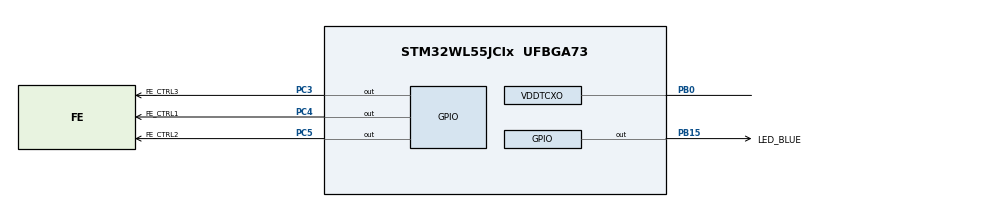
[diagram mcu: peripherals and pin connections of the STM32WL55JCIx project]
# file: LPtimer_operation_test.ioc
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Mcu.Family=STM32WL
Mcu.Name=STM32WL55JCIx
Mcu.Package=UFBGA73
Mcu.UserConstants=RTC_PREDIV_A,((1<<(15-RTC_N_PREDIV_S))-1);RTC_N_PREDIV_S,10;RTC_PREDIV_S,((1<<RTC_N_PREDIV_S)-1)
NUCLEO-WL55JC1.BUTTON=1
NUCLEO-WL55JC1.LD1=true
NVIC.PriorityGroup=NVIC_PRIORITYGROUP_4
NVIC.RTC_Alarm_IRQn=true\:0\:0\:false\:false\:true\:true\:true\:true
NVIC.TAMP_STAMP_LSECSS_SSRU_IRQn=true\:0\:0\:false\:false\:true\:true\:true\:true
OSC_IN.Mode=HSE-TCXO
OSC_IN.Signal=RCC_OSC_IN
PA2.GPIO_Label=T_VCP_RX
PA2.Signal=USART2_TX
PA3.GPIO_Label=T_VCP_RX
PA3.Signal=USART2_RX
PB0-VDD_TCXO.Mode=HSE-TCXO
PB0-VDD_TCXO.Signal=VDDTCXO
PB15.GPIO_Label=LED_BLUE
PB15.Signal=GPIO_Output
PC14-OSC32_IN.GPIO_Label=RCC_OSC32_IN
PC14-OSC32_IN.Mode=LSE-External-Oscillator
PC14-OSC32_IN.Signal=RCC_OSC32_IN
PC15-OSC32_OUT.GPIO_Label=RCC_OSC32_OUT
PC15-OSC32_OUT.Mode=LSE-External-Oscillator
PC15-OSC32_OUT.Signal=RCC_OSC32_OUT
PC3.GPIO_Label=FE_CTRL3
PC3.GPIO_Speed=GPIO_SPEED_FREQ_VERY_HIGH
PC3.Signal=GPIO_Output
PC4.GPIO_Label=FE_CTRL1
PC4.GPIO_Speed=GPIO_SPEED_FREQ_VERY_HIGH
PC4.Signal=GPIO_Output
PC5.GPIO_Label=FE_CTRL2
PC5.GPIO_Speed=GPIO_SPEED_FREQ_VERY_HIGH
PC5.Signal=GPIO_Output
ProjectManager.HeapSize=0x200
ProjectManager.StackSize=0x400
ProjectManager.TargetToolchain=STM32CubeIDE
RCC.FLatency=FLASH_LATENCY_2
RCC.HSE_VALUE=32000000
RCC.HSI_VALUE=16000000
RCC.LSE_VALUE=32768
RCC.PWR_Regulator_Voltage_Scale=PWR_REGULATOR_VOLTAGE_SCALE1
RCC.VCOOutputFreq_Value=32000000
RTC.Alarm-Alarm\ A=RTC_ALARM_A
RTC.AsynchPrediv=RTC_PREDIV_A
RTC.BinMode=RTC_BINARY_ONLY
RTC.BinaryAutoClr_A-Alarm\ A=RTC_ALARMSUBSECONDBIN_AUTOCLR_NO
VP_NUCLEO-WL55JC1_VS_BSP_COMMON.Mode=COMMON
VP_RTC_VS_RTC_Activate.Mode=RTC_Enabled
VP_RTC_VS_RTC_Alarm_A_Intern.Mode=Alarm A
VP_RTC_VS_RTC_Calendar.Mode=RTC_Calendar
board=NUCLEO-WL55JC1

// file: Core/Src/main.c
/* USER CODE BEGIN Header */
/**
  ******************************************************************************
  * @file           : main.c
  * @brief          : Main program body
  ******************************************************************************
  * @attention
  *
  * Copyright (c) 2025 STMicroelectronics.
  * All rights reserved.
  *
  * This software is licensed under terms that can be found in the LICENSE file
  * in the root directory of this software component.
  * If no LICENSE file comes with this software, it is provided AS-IS.
  *
  ******************************************************************************
  */
/* USER CODE END Header */
#include "main.h"
#include "rtc.h"
#include "gpio.h"

/* USER CODE BEGIN Includes */
#include "timer_if.h"
#include "logger.h"
/* USER CODE END Includes */

/* USER CODE BEGIN PD */
#define LED_PERIOD_TIME 1000
/* USER CODE END PD */

/* USER CODE BEGIN PV */
static UTIL_TIMER_Object_t ledTimer;
/* USER CODE END PV */

void SystemClock_Config(void);
/* USER CODE BEGIN PFP */
/**
  * @brief  LED timer callback function
  * @param  context ptr of LED context
  */
static void OnTimerLedEvent(void *context);
/* USER CODE END PFP */

/* USER CODE BEGIN 0 */
extern void initialise_monitor_handles(void);
/* USER CODE END 0 */

int main(void)
{

  /* USER CODE BEGIN 1 */
	initialise_monitor_handles();
  /* USER CODE END 1 */

  /* MCU Configuration--------------------------------------------------------*/

  /* Reset of all peripherals, Initializes the Flash interface and the Systick. */
  HAL_Init();

  /* Configure the system clock */
  SystemClock_Config();

  /* USER CODE BEGIN SysInit */
  UTIL_TIMER_Init();
  /* USER CODE END SysInit */

  /* Initialize all configured peripherals */
  MX_GPIO_Init();
  MX_RTC_Init();
  /* USER CODE BEGIN 2 */
  UTIL_TIMER_Create(&ledTimer, LED_PERIOD_TIME, UTIL_TIMER_ONESHOT, OnTimerLedEvent, NULL);
  /* USER CODE END 2 */

  /* Initialize leds */
  BSP_LED_Init(LED_BLUE);

  /* Initialize USER push-button, will be used to trigger an interrupt each time it's pressed.*/
  BSP_PB_Init(BUTTON_SW1, BUTTON_MODE_EXTI);

  /* Infinite loop */
  /* USER CODE BEGIN WHILE */
  UTIL_TIMER_Start(&ledTimer);
  while (1)
  {

    /* USER CODE END WHILE */
    /* USER CODE BEGIN 3 */
	  // __WFI()  (Wait For Interrupt) El procesador se detiene temporalmente hasta que ocurra una interrupción,
	  //UTIL_LPM_EnterLowPower();
  }
  /* USER CODE END 3 */
}

void SystemClock_Config(void)
{
  RCC_OscInitTypeDef RCC_OscInitStruct = {0};
  RCC_ClkInitTypeDef RCC_ClkInitStruct = {0};

  /** Configure LSE Drive Capability
  */
  HAL_PWR_EnableBkUpAccess();
  __HAL_RCC_LSEDRIVE_CONFIG(RCC_LSEDRIVE_LOW);

  /** Configure the main internal regulator output voltage
  */
  __HAL_PWR_VOLTAGESCALING_CONFIG(PWR_REGULATOR_VOLTAGE_SCALE1);

  /** Initializes the CPU, AHB and APB buses clocks
  */
  RCC_OscInitStruct.OscillatorType = RCC_OSCILLATORTYPE_LSI|RCC_OSCILLATORTYPE_LSE
                              |RCC_OSCILLATORTYPE_MSI;
  RCC_OscInitStruct.LSEState = RCC_LSE_ON;
  RCC_OscInitStruct.MSIState = RCC_MSI_ON;
  RCC_OscInitStruct.MSICalibrationValue = RCC_MSICALIBRATION_DEFAULT;
  RCC_OscInitStruct.MSIClockRange = RCC_MSIRANGE_6;
  RCC_OscInitStruct.LSIDiv = RCC_LSI_DIV1;
  RCC_OscInitStruct.LSIState = RCC_LSI_ON;
  RCC_OscInitStruct.PLL.PLLState = RCC_PLL_NONE;
  if (HAL_RCC_OscConfig(&RCC_OscInitStruct) != HAL_OK)
  {
    Error_Handler();
  }

  /** Configure the SYSCLKSource, HCLK, PCLK1 and PCLK2 clocks dividers
  */
  RCC_ClkInitStruct.ClockType = RCC_CLOCKTYPE_HCLK3|RCC_CLOCKTYPE_HCLK
                              |RCC_CLOCKTYPE_SYSCLK|RCC_CLOCKTYPE_PCLK1
                              |RCC_CLOCKTYPE_PCLK2;
  RCC_ClkInitStruct.SYSCLKSource = RCC_SYSCLKSOURCE_MSI;
  RCC_ClkInitStruct.AHBCLKDivider = RCC_SYSCLK_DIV1;
  RCC_ClkInitStruct.APB1CLKDivider = RCC_HCLK_DIV1;
  RCC_ClkInitStruct.APB2CLKDivider = RCC_HCLK_DIV1;
  RCC_ClkInitStruct.AHBCLK3Divider = RCC_SYSCLK_DIV1;

  if (HAL_RCC_ClockConfig(&RCC_ClkInitStruct, FLASH_LATENCY_2) != HAL_OK)
  {
    Error_Handler();
  }
}

/* USER CODE BEGIN 4 */
static void OnTimerLedEvent(void *context)
{
  HAL_GPIO_TogglePin(LED_BLUE_GPIO_Port, LED_BLUE_Pin);
  LOGGER_LOG("timer finished successfully\n");
  UTIL_TIMER_Start(&ledTimer);
  LOGGER_LOG("timer restart\n");
}
/* USER CODE END 4 */

void Error_Handler(void)
{
  __disable_irq();
  while (1)
  {
  }
}
